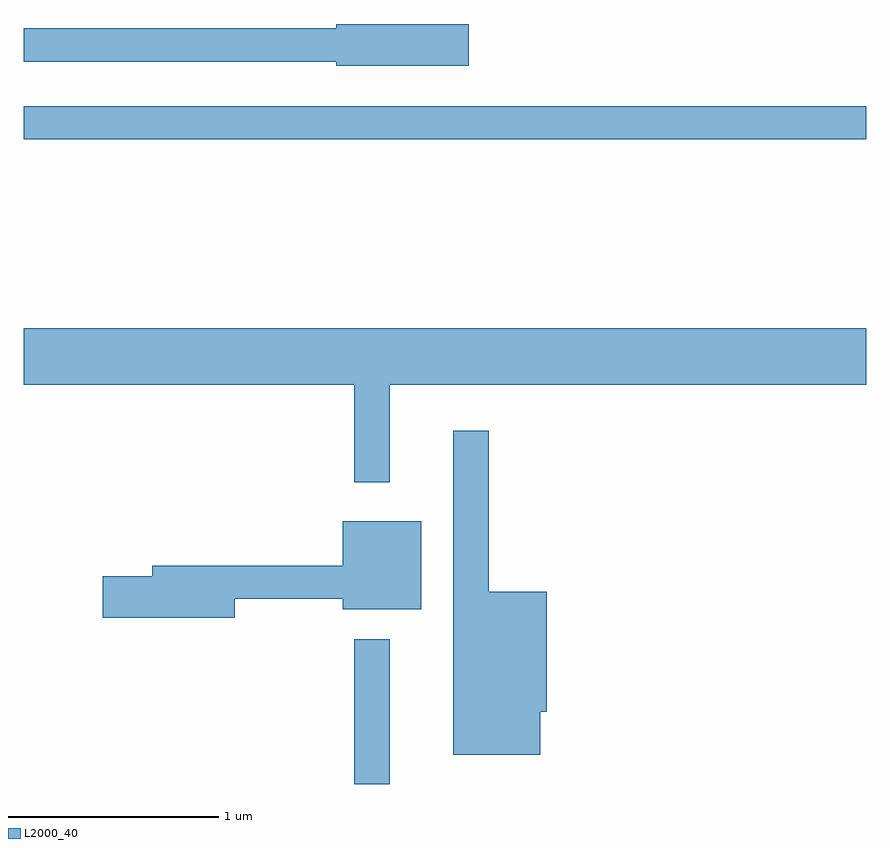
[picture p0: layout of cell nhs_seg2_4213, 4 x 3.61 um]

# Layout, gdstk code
import gdstk
lib = gdstk.Library(unit=1e-6, precision=1e-09)
def R(c, l, rs):  # rectangles x0, y0, x1, y1
    for r in rs: c.add(gdstk.rectangle(r[:2], r[2:], *l))
def P(c, l, *ps):  # polygons
    for p in ps: c.add(gdstk.Polygon(p, *l))
L2000_40 = (2000, 40)

nhs_seg2_4213 = lib.new_cell('nhs_seg2_4213')
R(nhs_seg2_4213, L2000_40, [(311.181,999.802,311.349,1000.488), (309.611,1002.861,313.611,1003.019)])
P(nhs_seg2_4213, L2000_40, [(311.724,1003.409),(311.096,1003.409),(311.096,1003.389),(309.611,1003.389),(309.611,1003.231),(311.096,1003.231),(311.096,1003.211),(311.724,1003.211)],
  [(311.349,1001.696),(313.611,1001.696),(313.611,1001.964),(309.611,1001.964),(309.611,1001.696),(311.181,1001.696),(311.181,1001.233),(311.349,1001.233)],
  [(312.064,1000.146),(312.094,1000.146),(312.094,1000.714),(311.819,1000.714),(311.819,1001.478),(311.651,1001.478),(311.651,999.941),(312.064,999.941)],
  [(310.614,1000.681),(311.126,1000.681),(311.126,1000.631),(311.499,1000.631),(311.499,1001.049),(311.126,1001.049),(311.126,1000.839),(310.221,1000.839),(310.221,1000.789),(309.986,1000.789),(309.986,1000.591),(310.614,1000.591)])

lib.write_gds('nhs_seg2_4213.gds')
